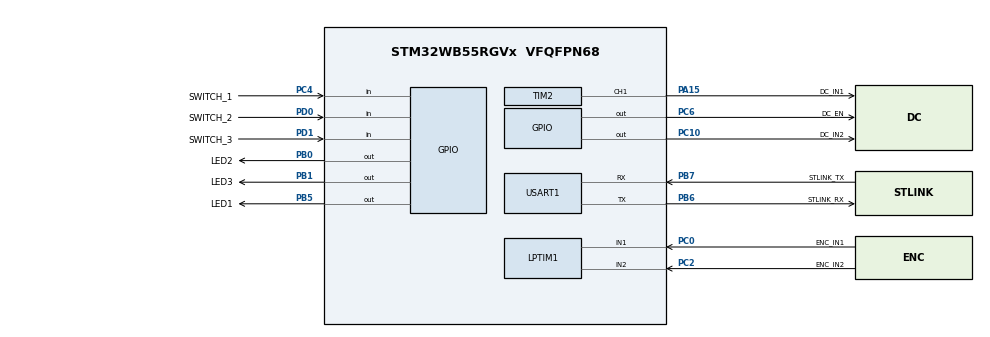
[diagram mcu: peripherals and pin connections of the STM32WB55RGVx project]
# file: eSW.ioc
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Dma.Request0=USART1_RX
Dma.Request1=USART1_TX
Dma.USART1_RX.0.Direction=DMA_PERIPH_TO_MEMORY
Dma.USART1_RX.0.EventEnable=DISABLE
Dma.USART1_RX.0.Instance=DMA1_Channel1
Dma.USART1_RX.0.MemDataAlignment=DMA_MDATAALIGN_BYTE
Dma.USART1_RX.0.MemInc=DMA_MINC_ENABLE
Dma.USART1_RX.0.Mode=DMA_NORMAL
Dma.USART1_RX.0.PeriphDataAlignment=DMA_PDATAALIGN_BYTE
Dma.USART1_RX.0.PeriphInc=DMA_PINC_DISABLE
Dma.USART1_RX.0.Polarity=HAL_DMAMUX_REQ_GEN_RISING
Dma.USART1_RX.0.Priority=DMA_PRIORITY_LOW
Dma.USART1_RX.0.RequestNumber=1
Dma.USART1_RX.0.SignalID=NONE
Dma.USART1_RX.0.SyncEnable=DISABLE
Dma.USART1_RX.0.SyncPolarity=HAL_DMAMUX_SYNC_NO_EVENT
Dma.USART1_RX.0.SyncRequestNumber=1
Dma.USART1_RX.0.SyncSignalID=NONE
Dma.USART1_TX.1.Direction=DMA_MEMORY_TO_PERIPH
Dma.USART1_TX.1.EventEnable=DISABLE
Dma.USART1_TX.1.Instance=DMA1_Channel2
Dma.USART1_TX.1.MemDataAlignment=DMA_MDATAALIGN_BYTE
Dma.USART1_TX.1.MemInc=DMA_MINC_ENABLE
Dma.USART1_TX.1.Mode=DMA_NORMAL
Dma.USART1_TX.1.PeriphDataAlignment=DMA_PDATAALIGN_BYTE
Dma.USART1_TX.1.PeriphInc=DMA_PINC_DISABLE
Dma.USART1_TX.1.Polarity=HAL_DMAMUX_REQ_GEN_RISING
Dma.USART1_TX.1.Priority=DMA_PRIORITY_LOW
Dma.USART1_TX.1.RequestNumber=1
Dma.USART1_TX.1.SignalID=NONE
Dma.USART1_TX.1.SyncEnable=DISABLE
Dma.USART1_TX.1.SyncPolarity=HAL_DMAMUX_SYNC_NO_EVENT
Dma.USART1_TX.1.SyncRequestNumber=1
Dma.USART1_TX.1.SyncSignalID=NONE
LPTIM1.ULPClockPolarity=LPTIM_CLOCKPOLARITY_RISING_FALLING
Mcu.Family=STM32WB
Mcu.Name=STM32WB55RGVx
Mcu.Package=VFQFPN68
NVIC.DMA1_Channel1_IRQn=true\:0\:0\:false\:false\:true\:false\:true\:true
NVIC.DMA1_Channel2_IRQn=true\:0\:0\:false\:false\:true\:false\:true\:true
NVIC.PriorityGroup=NVIC_PRIORITYGROUP_4
NVIC.USART1_IRQn=true\:0\:0\:false\:false\:true\:true\:true\:true
OSC_IN.GPIO_Label=RCC_OSC_IN
OSC_IN.Signal=RCC_OSC_IN
OSC_OUT.GPIO_Label=RCC_OSC_OUT
OSC_OUT.Signal=RCC_OSC_OUT
PA11.GPIO_Label=USB_DM
PA11.Signal=USB_DM
PA12.GPIO_Label=USB_DP
PA12.Signal=USB_DP
PA13.GPIO_Label=JTMS
PA13.Signal=SYS_JTMS-SWDIO
PA14.GPIO_Label=JTCK
PA14.Signal=SYS_JTCK-SWCLK
PA15.GPIO_Label=DC_IN1
PA15.Signal=S_TIM2_CH1
PB0.GPIO_Label=LED2
PB0.Signal=GPIO_Output
PB1.GPIO_Label=LED3
PB1.Signal=GPIO_Output
PB3.GPIO_Label=JTDO
PB3.Signal=SYS_JTDO-SWO
PB5.GPIO_Label=LED1
PB5.Signal=GPIO_Output
PB6.GPIO_Label=STLINK_RX
PB6.Mode=Asynchronous
PB6.Signal=USART1_TX
PB7.GPIO_Label=STLINK_TX
PB7.Mode=Asynchronous
PB7.Signal=USART1_RX
PC0.GPIO_Label=ENC_IN1
PC0.Mode=Encoder_mode_occur1
PC0.Signal=LPTIM1_IN1
PC10.GPIO_Label=DC_IN2
PC10.Signal=GPIO_Output
PC13.GPIO_Label=SYS_WKUP2
PC13.Signal=SYS_WKUP2
PC14-OSC32_IN.GPIO_Label=RCC_OSC32_IN
PC14-OSC32_IN.Signal=RCC_OSC32_IN
PC15-OSC32_OUT.GPIO_Label=RCC_OSC32_OUT
PC15-OSC32_OUT.Signal=RCC_OSC32_OUT
PC2.GPIO_Label=ENC_IN2
PC2.Mode=Encoder_mode_occur1
PC2.Signal=LPTIM1_IN2
PC4.GPIO_Label=SWITCH_1
PC4.Signal=GPIO_Input
PC6.GPIO_Label=DC_EN
PC6.GPIO_PuPd=GPIO_NOPULL
PC6.Signal=GPIO_Output
PD0.GPIO_Label=SWITCH_2
PD0.Signal=GPIO_Input
PD1.GPIO_Label=SWITCH_3
PD1.GPIO_PuPd=GPIO_PULLUP
PD1.Signal=GPIO_Input
ProjectManager.HeapSize=0x200
ProjectManager.StackSize=0x400
ProjectManager.TargetToolchain=CMake
RCC.ADCFreq_Value=16000000
RCC.AHB2CLKDivider=RCC_SYSCLK_DIV2
RCC.AHBFreq_Value=64000000
RCC.APB1Freq_Value=64000000
RCC.APB1TimFreq_Value=64000000
RCC.APB2Freq_Value=64000000
RCC.APB2TimFreq_Value=64000000
RCC.APB3Freq_Value=16000000
RCC.CortexFreq_Value=64000000
RCC.HCLKFreq_Value=64000000
RCC.HSE_VALUE=32000000
RCC.HSI48_VALUE=48000000
RCC.HSI_VALUE=16000000
RCC.LSE_VALUE=32768
RCC.PLLN=32
RCC.SMPSCLockSelection=RCC_SMPSCLKSOURCE_HSI
RCC.SMPSCLockSelectionVirtual=RCC_SMPSCLKSOURCE_HSI
RCC.SMPSCLockSelectionVirtualVirtual=RCC_SMPSCLKSOURCE_HSI
RCC.SMPSDivider=1
RCC.SYSCLKFreq_VALUE=64000000
RCC.SYSCLKSource=RCC_SYSCLKSOURCE_PLLCLK
RCC.USBFreq_Value=16000000
RCC.VCOOutputFreq_Value=128000000
SH.S_TIM2_CH1.0=TIM2_CH1,PWM Generation1 CH1
TIM2.AutoReloadPreload=TIM_AUTORELOAD_PRELOAD_ENABLE
TIM2.Channel-PWM\ Generation1\ CH1=TIM_CHANNEL_1
TIM2.Period=3199
USART1.VirtualMode-Asynchronous=VM_ASYNC
VP_MEMORYMAP_VS_MEMORYMAP.Mode=CurAppReg
VP_TIM2_VS_ClockSourceINT.Mode=Internal
board=NUCLEO-WB55RG

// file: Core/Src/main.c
/* USER CODE BEGIN Header */
/**
 ******************************************************************************
 * @file           : main.c
 * @brief          : Main program body
 ******************************************************************************
 * @attention
 *
 * Copyright (c) 2026 STMicroelectronics.
 * All rights reserved.
 *
 * This software is licensed under terms that can be found in the LICENSE file
 * in the root directory of this software component.
 * If no LICENSE file comes with this software, it is provided AS-IS.
 *
 ******************************************************************************
 */
/* USER CODE END Header */
#include "main.h"
#include "dma.h"
#include "lptim.h"
#include "tim.h"
#include "usart.h"
#include "gpio.h"

/* USER CODE BEGIN Includes */
#include "button.h"
#include "motor.h"
#include "comms.h"

/* USER CODE END Includes */

/* USER CODE BEGIN PD */
#define BUTTON_MS_SAMPLE_RATE 1
#define MOTOR_MS_CONTROL_RATE 5
#define MS_UART_SAMPLE_RATE 20

/* USER CODE END PD */

/* USER CODE BEGIN PV */
volatile uint32_t ms_sample_tick,
    ms_motor_tick, ms_uart_tick = 0;

MotorState LW_state;
uint8_t LW_duty;
uint32_t LW_count;
int16_t LW_rpm;
/* USER CODE END PV */

void SystemClock_Config(void);
void PeriphCommonClock_Config(void);

int main(void)
{

  /* MCU Configuration--------------------------------------------------------*/

  /* Reset of all peripherals, Initializes the Flash interface and the Systick. */
  HAL_Init();

  /* Configure the system clock */
  SystemClock_Config();

  /* Configure the peripherals common clocks */
  PeriphCommonClock_Config();

  /* USER CODE BEGIN SysInit */
  HAL_SYSTICK_Config(HAL_RCC_GetHCLKFreq() / 1000);
  HAL_SYSTICK_CLKSourceConfig(SYSTICK_CLKSOURCE_HCLK);
  HAL_NVIC_SetPriority(SysTick_IRQn, 0, 0);

  /* USER CODE END SysInit */

  /* Initialize all configured peripherals */
  MX_GPIO_Init();
  MX_DMA_Init();
  MX_TIM2_Init();
  MX_LPTIM1_Init();
  MX_USART1_UART_Init();
  /* USER CODE BEGIN 2 */
  // Button Setup
  Button sw_1;
  button_init(&sw_1, SWITCH_1_GPIO_Port, SWITCH_1_Pin, LOW_ACTIVE);
  Button sw_2;
  button_init(&sw_2, SWITCH_2_GPIO_Port, SWITCH_2_Pin, LOW_ACTIVE);
  Button sw_3;
  button_init(&sw_3, SWITCH_3_GPIO_Port, SWITCH_3_Pin, LOW_ACTIVE);

  // Status LED

  // Motor
  Motor motor = {STOP, MOTOR_DUTY_START_VALUE, 0};
  HAL_TIM_PWM_Start(&htim2, TIM_CHANNEL_1);
  HAL_GPIO_WritePin(DC_EN_GPIO_Port, DC_EN_Pin, GPIO_PIN_SET);

  // Encoder
  HAL_LPTIM_Encoder_Start(&hlptim1, 0xFFFF);

  // Uart
  uart_start_rx();

  /* USER CODE END 2 */

  /* Infinite loop */
  while (1)
  {

    /* USER CODE BEGIN 3 */
    if (ms_sample_tick >= BUTTON_MS_SAMPLE_RATE)
    {
      ms_sample_tick = 0;
      sw_1.sample(&sw_1);
      sw_2.sample(&sw_2);
      sw_3.sample(&sw_3);
    }

    if (ms_uart_tick >= MS_UART_SAMPLE_RATE)
    {
      parse_msg(&uart_handle, &motor);
    }

    if (ms_motor_tick >= MOTOR_MS_CONTROL_RATE)
    {
      ms_motor_tick = 0;
      motor_control(&motor);

      // Live Watch
      LW_rpm = get_rpm(&motor);
      LW_state = motor.state;
      LW_duty = motor.duty_cycle;
    }
  }
  /* USER CODE END 3 */
}

void SystemClock_Config(void)
{
  RCC_OscInitTypeDef RCC_OscInitStruct = {0};
  RCC_ClkInitTypeDef RCC_ClkInitStruct = {0};

  /** Configure the main internal regulator output voltage
   */
  __HAL_PWR_VOLTAGESCALING_CONFIG(PWR_REGULATOR_VOLTAGE_SCALE1);

  /** Initializes the RCC Oscillators according to the specified parameters
   * in the RCC_OscInitTypeDef structure.
   */
  RCC_OscInitStruct.OscillatorType = RCC_OSCILLATORTYPE_HSI | RCC_OSCILLATORTYPE_MSI;
  RCC_OscInitStruct.HSIState = RCC_HSI_ON;
  RCC_OscInitStruct.MSIState = RCC_MSI_ON;
  RCC_OscInitStruct.HSICalibrationValue = RCC_HSICALIBRATION_DEFAULT;
  RCC_OscInitStruct.MSICalibrationValue = RCC_MSICALIBRATION_DEFAULT;
  RCC_OscInitStruct.MSIClockRange = RCC_MSIRANGE_6;
  RCC_OscInitStruct.PLL.PLLState = RCC_PLL_ON;
  RCC_OscInitStruct.PLL.PLLSource = RCC_PLLSOURCE_MSI;
  RCC_OscInitStruct.PLL.PLLM = RCC_PLLM_DIV1;
  RCC_OscInitStruct.PLL.PLLN = 32;
  RCC_OscInitStruct.PLL.PLLP = RCC_PLLP_DIV2;
  RCC_OscInitStruct.PLL.PLLR = RCC_PLLR_DIV2;
  RCC_OscInitStruct.PLL.PLLQ = RCC_PLLQ_DIV2;
  if (HAL_RCC_OscConfig(&RCC_OscInitStruct) != HAL_OK)
  {
    Error_Handler();
  }

  /** Configure the SYSCLKSource, HCLK, PCLK1 and PCLK2 clocks dividers
   */
  RCC_ClkInitStruct.ClockType = RCC_CLOCKTYPE_HCLK4 | RCC_CLOCKTYPE_HCLK2 | RCC_CLOCKTYPE_HCLK | RCC_CLOCKTYPE_SYSCLK | RCC_CLOCKTYPE_PCLK1 | RCC_CLOCKTYPE_PCLK2;
  RCC_ClkInitStruct.SYSCLKSource = RCC_SYSCLKSOURCE_PLLCLK;
  RCC_ClkInitStruct.AHBCLKDivider = RCC_SYSCLK_DIV1;
  RCC_ClkInitStruct.APB1CLKDivider = RCC_HCLK_DIV1;
  RCC_ClkInitStruct.APB2CLKDivider = RCC_HCLK_DIV1;
  RCC_ClkInitStruct.AHBCLK2Divider = RCC_SYSCLK_DIV2;
  RCC_ClkInitStruct.AHBCLK4Divider = RCC_SYSCLK_DIV1;

  if (HAL_RCC_ClockConfig(&RCC_ClkInitStruct, FLASH_LATENCY_3) != HAL_OK)
  {
    Error_Handler();
  }
}

void PeriphCommonClock_Config(void)
{
  RCC_PeriphCLKInitTypeDef PeriphClkInitStruct = {0};

  /** Initializes the peripherals clock
   */
  PeriphClkInitStruct.PeriphClockSelection = RCC_PERIPHCLK_SMPS;
  PeriphClkInitStruct.SmpsClockSelection = RCC_SMPSCLKSOURCE_HSI;
  PeriphClkInitStruct.SmpsDivSelection = RCC_SMPSCLKDIV_RANGE0;

  if (HAL_RCCEx_PeriphCLKConfig(&PeriphClkInitStruct) != HAL_OK)
  {
    Error_Handler();
  }
}

/* USER CODE BEGIN 4 */
void HAL_SYSTICK_Callback()
{
  ms_sample_tick++;
  ms_motor_tick++;
  ms_uart_tick++;
}

/* USER CODE END 4 */

void Error_Handler(void)
{
  __disable_irq();
  while (1)
  {
  }
}
